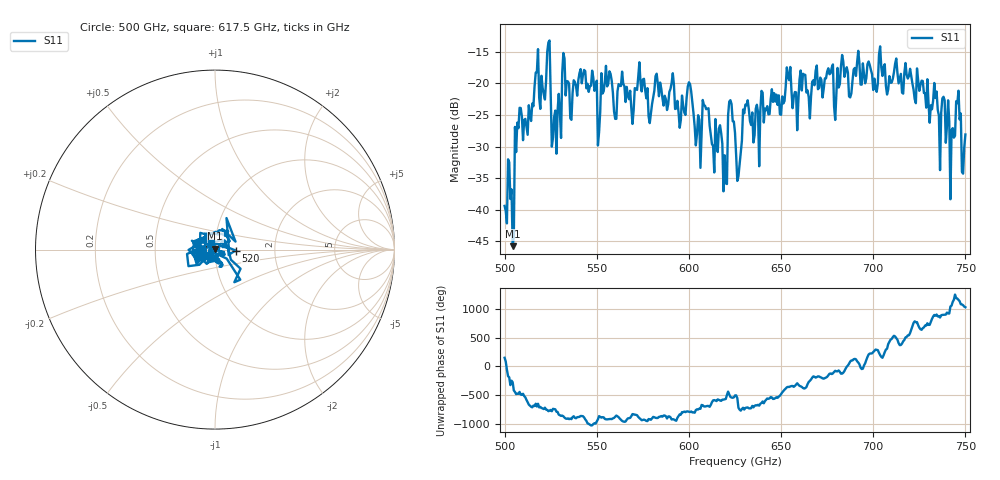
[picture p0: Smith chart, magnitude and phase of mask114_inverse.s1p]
!Created with skrf (http://scikit-rf.org).
# GHz S MA R 50.0
!freq magS11 angS11
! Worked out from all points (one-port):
!   401 points, 500 GHz to 750 GHz, reference 50 ohm
!   lowest |S11| = -45.8 dB at 504.4 GHz (marker M1), VSWR 1.01, Z = 50 + j0.515 ohm
!   |S11| at or under -10 dB: start of sweep to end of sweep
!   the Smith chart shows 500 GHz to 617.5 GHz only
!   S11 on the Smith chart (normalised r, x): 500 GHz: 0.98, +0.01; 520 GHz: 1.26, -0.01; 617.5 GHz: 0.96, +0.07
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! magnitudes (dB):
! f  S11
! 500 GHz  -39.4
! 504.4 GHz  -45.8
! 508.1 GHz  -23.8
! 520 GHz  -18.8
! 523.8 GHz  -13.5
! 526.9 GHz  -25.3
! 531.2 GHz  -18.3
! 548.8 GHz  -21.2
! 550.6 GHz  -29.8
! 562.5 GHz  -20.4
! 579.4 GHz  -24.8
! 590.6 GHz  -19.9
! 593.8 GHz  -22.7
! 600 GHz  -19.8
! 605 GHz  -25.0
! 608.8 GHz  -23.5
! 617.5 GHz  -27.9
! 619.4 GHz  -31.4
! 622.5 GHz  -22.6
! 625 GHz  -27.8
! 626.9 GHz  -34.7
! 630.6 GHz  -23.4
! 656.2 GHz  -23.9
! 687.5 GHz  -22.2
! 718.8 GHz  -19.2
! 743.1 GHz  -27.1
! 746.2 GHz  -21.1
! 750 GHz  -28.1
